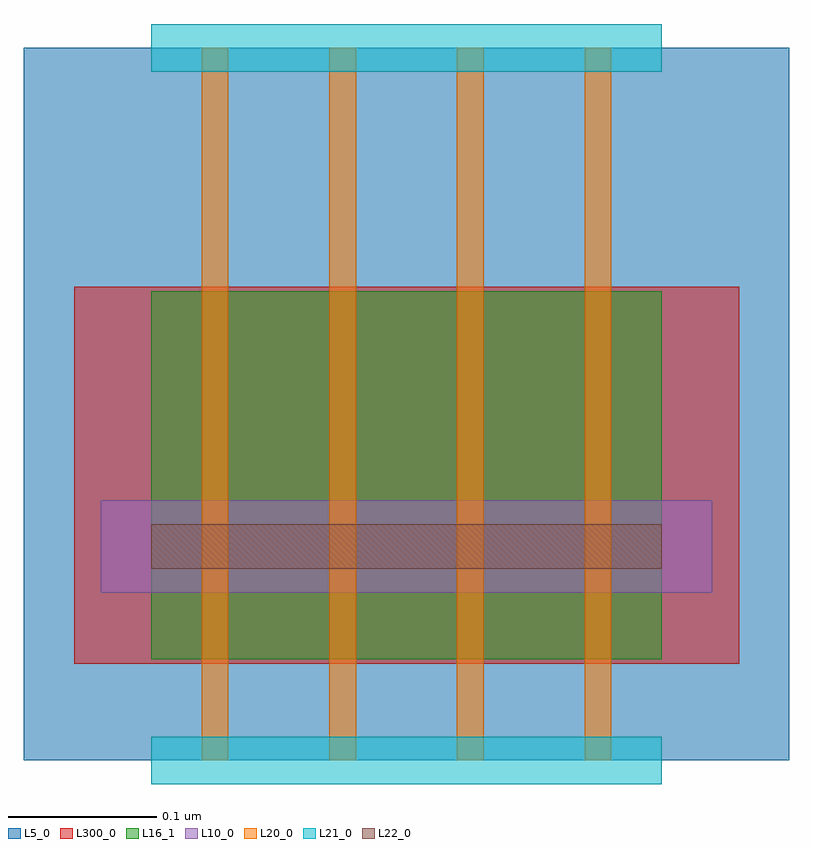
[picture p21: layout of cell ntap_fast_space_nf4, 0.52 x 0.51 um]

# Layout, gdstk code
import gdstk
lib = gdstk.Library(unit=1e-6, precision=5e-10)
def R(c, l, rs):  # rectangles x0, y0, x1, y1
    for r in rs: c.add(gdstk.rectangle(r[:2], r[2:], *l))
L5_0 = (5, 0)
L10_0 = (10, 0)
L16_1 = (16, 1)
L20_0 = (20, 0)
L21_0 = (21, 0)
L22_0 = (22, 0)
L300_0 = (300, 0)

c__pmos4_fast_base_tap_bas = lib.new_cell('_pmos4_fast_base_tap_base3')
R(c__pmos4_fast_base_tap_bas, L5_0, [(0.172,0.048,0.43,0.336)])
R(c__pmos4_fast_base_tap_bas, L10_0, [(0.224,0.113,0.378,0.175)])
R(c__pmos4_fast_base_tap_bas, L16_1, [(0.258,0.068,0.344,0.316)])
R(c__pmos4_fast_base_tap_bas, L20_0, [(0.292,0,0.31,0.48)])
R(c__pmos4_fast_base_tap_bas, L21_0, [(0.258,-0.016,0.344,0.016), (0.258,0.464,0.344,0.496)])
R(c__pmos4_fast_base_tap_bas, L22_0, [(0.258,0.129,0.344,0.159)])
R(c__pmos4_fast_base_tap_bas, L300_0, [(0.206,0.065,0.396,0.319)])

ntap_fast_space_nf4 = lib.new_cell('ntap_fast_space_nf4')
R(ntap_fast_space_nf4, L5_0, [(-0.086,0,0.43,0.48)])
ntap_fast_space_nf4.add(gdstk.Reference(c__pmos4_fast_base_tap_bas, (-0.086,0)))
ntap_fast_space_nf4.add(gdstk.Reference(c__pmos4_fast_base_tap_bas, (-0.258,0)))
ntap_fast_space_nf4.add(gdstk.Reference(c__pmos4_fast_base_tap_bas, (0,0)))
ntap_fast_space_nf4.add(gdstk.Reference(c__pmos4_fast_base_tap_bas, (-0.172,0)))

lib.write_gds('ntap_fast_space_nf4.gds')
